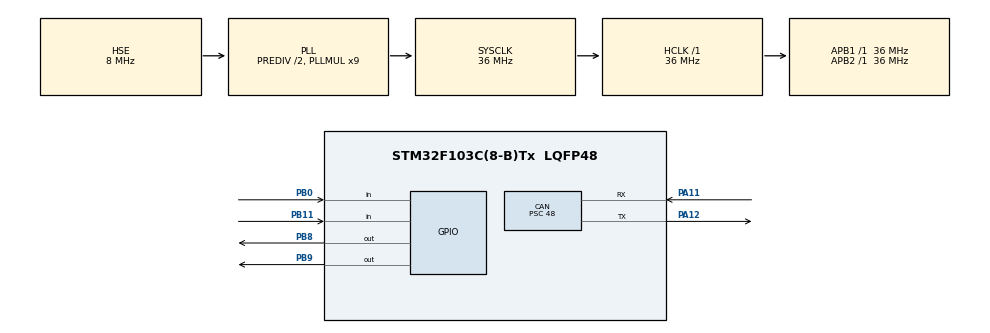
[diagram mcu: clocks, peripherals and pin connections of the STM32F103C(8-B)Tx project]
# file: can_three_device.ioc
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CAN.BS1=CAN_BS1_3TQ
CAN.BS2=CAN_BS2_2TQ
CAN.CalculateBaudRate=124999
CAN.CalculateTimeBit=8000
CAN.CalculateTimeQuantum=1333.3333333333335
CAN.Mode=CAN_MODE_NORMAL
CAN.Prescaler=48
CAN.SJW=CAN_SJW_2TQ
Mcu.Family=STM32F1
Mcu.Name=STM32F103C(8-B)Tx
Mcu.Package=LQFP48
NVIC.PriorityGroup=NVIC_PRIORITYGROUP_4
PA11.Mode=CAN_Activate
PA11.Signal=CAN_RX
PA12.Mode=CAN_Activate
PA12.Signal=CAN_TX
PA13.Mode=Serial_Wire
PA13.Signal=SYS_JTMS-SWDIO
PA14.Mode=Serial_Wire
PA14.Signal=SYS_JTCK-SWCLK
PB0.GPIO_PuPd=GPIO_PULLUP
PB0.Signal=GPIO_Input
PB11.GPIO_PuPd=GPIO_PULLUP
PB11.Signal=GPIO_Input
PB8.GPIO_ModeDefaultOutputPP=GPIO_MODE_OUTPUT_OD
PB8.GPIO_PuPd=GPIO_NOPULL
PB8.Signal=GPIO_Output
PB9.GPIO_ModeDefaultOutputPP=GPIO_MODE_OUTPUT_OD
PB9.GPIO_PuPd=GPIO_NOPULL
PB9.PinState=GPIO_PIN_RESET
PB9.Signal=GPIO_Output
PC14-OSC32_IN.Mode=LSE-External-Oscillator
PC14-OSC32_IN.Signal=RCC_OSC32_IN
PC15-OSC32_OUT.Mode=LSE-External-Oscillator
PC15-OSC32_OUT.Signal=RCC_OSC32_OUT
PD0-OSC_IN.Mode=HSE-External-Oscillator
PD0-OSC_IN.Signal=RCC_OSC_IN
PD1-OSC_OUT.Mode=HSE-External-Oscillator
PD1-OSC_OUT.Signal=RCC_OSC_OUT
ProjectManager.HeapSize=0x200
ProjectManager.StackSize=0x400
ProjectManager.TargetToolchain=STM32CubeIDE
RCC.AHBFreq_Value=36000000
RCC.APB1Freq_Value=36000000
RCC.APB1TimFreq_Value=36000000
RCC.APB2Freq_Value=36000000
RCC.APB2TimFreq_Value=36000000
RCC.HCLKFreq_Value=36000000
RCC.HSEDivPLL=RCC_HSE_PREDIV_DIV2
RCC.PLLMUL=RCC_PLL_MUL9
RCC.PLLSourceVirtual=RCC_PLLSOURCE_HSE
RCC.SYSCLKFreq_VALUE=36000000
RCC.SYSCLKSource=RCC_SYSCLKSOURCE_PLLCLK
RCC.USBFreq_Value=36000000
board=custom

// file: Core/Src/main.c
/* USER CODE BEGIN Header */
/**
 ******************************************************************************
 * @file           : main.c
 * @brief          : Main program body
 ******************************************************************************
 * @attention
 *
 * Copyright (c) 2026 STMicroelectronics.
 * All rights reserved.
 *
 * This software is licensed under terms that can be found in the LICENSE file
 * in the root directory of this software component.
 * If no LICENSE file comes with this software, it is provided AS-IS.
 *
 ******************************************************************************
 */
/* USER CODE END Header */
#include "main.h"
#include "can.h"
#include "gpio.h"

/* USER CODE BEGIN Includes */
#include "OLED.h"
#include "Key.h"
/* USER CODE END Includes */

/* USER CODE BEGIN PV */
uint8_t KeyNum = 0;
uint32_t TxID = 0x666;
uint8_t TxLength = 4;
uint8_t TxData[8] = { 0x11, 0x22, 0x33, 0x44 };

uint32_t RxID;
uint8_t RxLength;
uint8_t RxData[8] = {0};

/* USER CODE END PV */

void SystemClock_Config(void);

int main(void)
{

  /* MCU Configuration--------------------------------------------------------*/

  /* Reset of all peripherals, Initializes the Flash interface and the Systick. */
  HAL_Init();

  /* Configure the system clock */
  SystemClock_Config();

  /* Initialize all configured peripherals */
  MX_GPIO_Init();
  MX_CAN_Init();
  /* USER CODE BEGIN 2 */
	OLED_Init();

	OLED_ShowString(1, 1, "TxID:");
	OLED_ShowHexNum(1, 6, TxID, 3);
	OLED_ShowString(2, 1, "RxID:");
	OLED_ShowString(3, 1, "Leng:");
	OLED_ShowString(4, 1, "Data:");
  /* USER CODE END 2 */

  /* Infinite loop */
  /* USER CODE BEGIN WHILE */
	while (1) {
		KeyNum = Key_GetNum();

		if (KeyNum == 1) {
			TxData[0]++;
			TxData[1]++;
			TxData[2]++;
			TxData[3]++;

			MyCAN_Transmit(TxID, TxLength, TxData);
		}

		if (MyCAN_ReceiveFlag()) {
			MyCAN_Receive(&RxID, &RxLength, RxData);

			OLED_ShowHexNum(2, 6, RxID, 3);
			OLED_ShowHexNum(3, 6, RxLength, 1);
			OLED_ShowHexNum(4, 6, RxData[0], 2);
			OLED_ShowHexNum(4, 9, RxData[1], 2);
			OLED_ShowHexNum(4, 12, RxData[2], 2);
			OLED_ShowHexNum(4, 15, RxData[3], 2);
		}
    /* USER CODE END WHILE */

	}
}

void SystemClock_Config(void)
{
  RCC_OscInitTypeDef RCC_OscInitStruct = {0};
  RCC_ClkInitTypeDef RCC_ClkInitStruct = {0};

  /** Initializes the RCC Oscillators according to the specified parameters
  * in the RCC_OscInitTypeDef structure.
  */
  RCC_OscInitStruct.OscillatorType = RCC_OSCILLATORTYPE_HSE;
  RCC_OscInitStruct.HSEState = RCC_HSE_ON;
  RCC_OscInitStruct.HSEPredivValue = RCC_HSE_PREDIV_DIV2;
  RCC_OscInitStruct.HSIState = RCC_HSI_ON;
  RCC_OscInitStruct.PLL.PLLState = RCC_PLL_ON;
  RCC_OscInitStruct.PLL.PLLSource = RCC_PLLSOURCE_HSE;
  RCC_OscInitStruct.PLL.PLLMUL = RCC_PLL_MUL9;
  if (HAL_RCC_OscConfig(&RCC_OscInitStruct) != HAL_OK)
  {
    Error_Handler();
  }

  /** Initializes the CPU, AHB and APB buses clocks
  */
  RCC_ClkInitStruct.ClockType = RCC_CLOCKTYPE_HCLK|RCC_CLOCKTYPE_SYSCLK
                              |RCC_CLOCKTYPE_PCLK1|RCC_CLOCKTYPE_PCLK2;
  RCC_ClkInitStruct.SYSCLKSource = RCC_SYSCLKSOURCE_PLLCLK;
  RCC_ClkInitStruct.AHBCLKDivider = RCC_SYSCLK_DIV1;
  RCC_ClkInitStruct.APB1CLKDivider = RCC_HCLK_DIV1;
  RCC_ClkInitStruct.APB2CLKDivider = RCC_HCLK_DIV1;

  if (HAL_RCC_ClockConfig(&RCC_ClkInitStruct, FLASH_LATENCY_1) != HAL_OK)
  {
    Error_Handler();
  }
}

void Error_Handler(void)
{
	__disable_irq();
	while (1) {
	}
}
